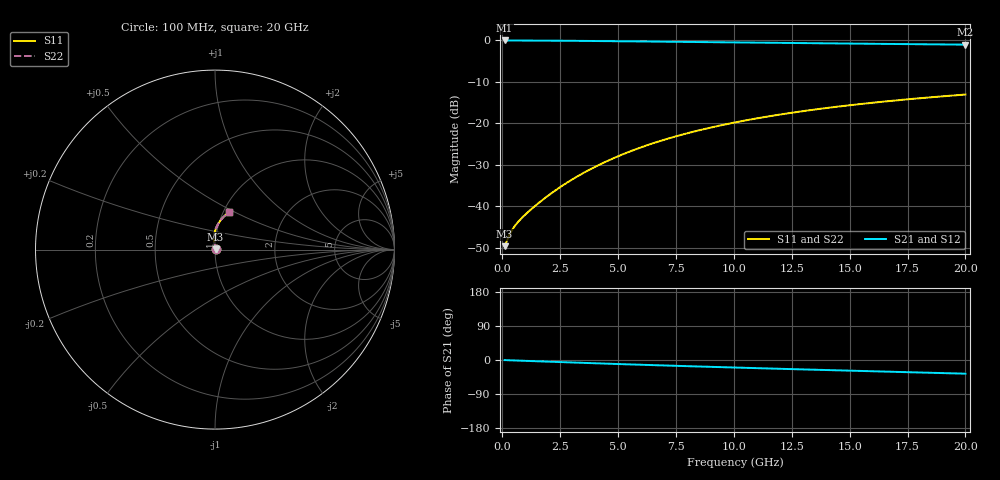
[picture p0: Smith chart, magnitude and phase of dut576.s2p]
! Touchstone file exported from HFSS 2024.1.0
!  File:  C:/UserFiles/LocalFiles/RDL_TSV_Batchsim/temp_RDL_top_576_1779681888.aedt
!  Generated:  12:06:59 PM May 25, 2026
!  Design:  RDL_top
!  Project:  temp_RDL_top_576_1779681888
!  Setup:  Setup1
!  Solution:  Sweep
! Variables:
!  dtsv = 10.80580581um
!  hbump = 3um
!  htsv = 70.26um
!  ldown = 100um
!  lrdl = 588.33um
!  p = 40
!  p1 = 42.37um
!  rhole = 1um
!  t = 450um
!  tdown = 3.915915916um
!  trdl = 2.51um
!  wdown = 15.38538539um
!  wrdl = 29.58um
# GHz S MA R 50.000000
! Terminal data exported
! Port[1] = Box2_T1
! Port[2] = Box2_T2
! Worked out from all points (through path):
!   200 points, 100 MHz to 20 GHz, reference 50 ohm
!   highest |S21| = -0.03 dB at 100 MHz (marker M1); lowest = -1.0 dB at 20 GHz (marker M2)
!   group delay of S21, straight-line fit = 4.93 ps
!   lowest |S11| = -49.6 dB at 100 MHz (marker M3), VSWR 1.01, Z = 50.3 + j0.0995 ohm
!   |S11| at or under -10 dB: start of sweep to end of sweep
!   |S22| runs from -49.6 to -13.0 dB; largest |S21 - S12| = 2e-15
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0.1  0.003327 17.3  0.9968 -0.2  0.9968 -0.2  0.003327 17.3
! Gamma 0 0 0 0
! Port Impedance 50 0 50 0
0.3  0.004477 36.7  0.9963 -0.7  0.9963 -0.7  0.004477 36.8
0.4  0.005071 41.6  0.996 -0.9  0.996 -0.9  0.005071 41.6
0.5  0.005616 45.3  0.9957 -1.2  0.9957 -1.2  0.005616 45.3
0.7  0.006603 51.5  0.9951 -1.6  0.9951 -1.6  0.006603 51.5
1  0.008021 59.5  0.9944 -2.3  0.9944 -2.3  0.008021 59.5
1.6  0.01118 72.2  0.9928 -3.6  0.9928 -3.6  0.01118 72.2
2.2  0.01497 81.0  0.9908 -4.9  0.9908 -4.9  0.01497 81.0
2.8  0.01938 87.0  0.9882 -6.2  0.9882 -6.2  0.01938 87.0
3.5  0.02527 91.5  0.9848 -7.6  0.9848 -7.6  0.02528 91.5
4.2  0.03189 94.1  0.9808 -9.1  0.9808 -9.1  0.0319 94.2
5  0.04023 95.6  0.976 -10.7  0.976 -10.7  0.04025 95.7
5.9  0.0504 96.0  0.9701 -12.4  0.9701 -12.4  0.05042 96.0
6.8  0.0612 95.4  0.9642 -14.1  0.9642 -14.1  0.06123 95.5
7.6  0.07117 94.5  0.9588 -15.6  0.9588 -15.6  0.07121 94.5
8.4  0.08136 93.2  0.9536 -17.0  0.9536 -17.0  0.08141 93.2
10.1  0.1034 89.9  0.9426 -20.0  0.9426 -20.0  0.1034 89.9
11.7  0.1241 86.5  0.9328 -22.7  0.9328 -22.7  0.1242 86.5
13.4  0.1457 82.8  0.9228 -25.6  0.9228 -25.6  0.1458 82.8
15  0.1655 79.3  0.9139 -28.2  0.9139 -28.2  0.1656 79.4
16.7  0.1857 75.8  0.9047 -30.9  0.9047 -30.9  0.1858 75.8
20  0.2225 69.2  0.8877 -36.1  0.8877 -36.1  0.2227 69.2
